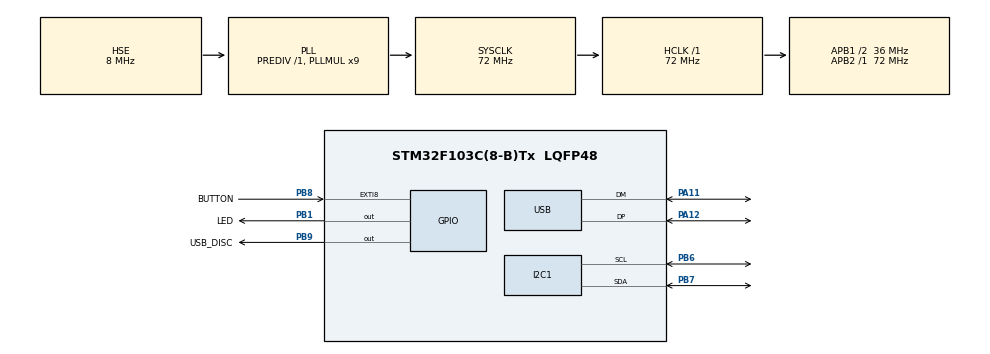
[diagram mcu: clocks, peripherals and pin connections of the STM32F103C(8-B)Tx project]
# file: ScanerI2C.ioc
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Mcu.Family=STM32F1
Mcu.Name=STM32F103C(8-B)Tx
Mcu.Package=LQFP48
NVIC.PriorityGroup=NVIC_PRIORITYGROUP_4
NVIC.USB_LP_CAN1_RX0_IRQn=true\:0\:0\:false
PA11.Mode=Device
PA11.Signal=USB_DM
PA12.Mode=Device
PA12.Signal=USB_DP
PA13.Mode=Serial_Wire
PA13.Signal=SYS_JTMS-SWDIO
PA14.Mode=Serial_Wire
PA14.Signal=SYS_JTCK-SWCLK
PB1.GPIO_Label=LED
PB1.GPIO_ModeDefaultOutputPP=GPIO_MODE_OUTPUT_PP
PB1.GPIO_Speed=GPIO_SPEED_LOW
PB1.Signal=GPIO_Output
PB6.Mode=I2C
PB6.Signal=I2C1_SCL
PB7.Mode=I2C
PB7.Signal=I2C1_SDA
PB8.GPIO_Label=BUTTON
PB8.GPIO_ModeDefaultEXTI=GPIO_MODE_IT_RISING_FALLING
PB8.GPIO_PuPd=GPIO_NOPULL
PB8.Signal=GPXTI8
PB9.GPIO_Label=USB_DISC
PB9.GPIO_ModeDefaultOutputPP=GPIO_MODE_OUTPUT_PP
PB9.GPIO_Speed=GPIO_SPEED_LOW
PB9.Signal=GPIO_Output
PD0-OSC_IN.Mode=HSE-External-Oscillator
PD0-OSC_IN.Signal=RCC_OSC_IN
PD1-OSC_OUT.Mode=HSE-External-Oscillator
PD1-OSC_OUT.Signal=RCC_OSC_OUT
ProjectManager.TargetToolchain=EWARM
RCC.ADCPresc=RCC_ADCPCLK2_DIV6
RCC.AHBFreq_Value=72000000
RCC.APB1CLKDivider=RCC_HCLK_DIV2
RCC.APB1Freq_Value=36000000
RCC.APB1TimFreq_Value=72000000
RCC.APB2Freq_Value=72000000
RCC.APB2TimFreq_Value=72000000
RCC.HCLKFreq_Value=72000000
RCC.HSIState=RCC_HSI_ON
RCC.PLLMUL=RCC_PLL_MUL9
RCC.SYSCLKFreq_VALUE=72000000
RCC.SYSCLKSource=RCC_SYSCLKSOURCE_PLLCLK
RCC.USBFreq_Value=48000000
RCC.USBPrescaler=RCC_USBPLLCLK_DIV1_5
USB_DEVICE.CLASS_NAME-CDC_FS=CDC
USB_DEVICE.USBD_HandleTypeDef=hUsbDeviceFS
USB_DEVICE.USBD_HandleTypeDef-CDC_FS=hUsbDeviceFS
USB_DEVICE.VirtualMode=Cdc
USB_DEVICE.VirtualMode-CDC_FS=Cdc
USB_DEVICE.VirtualModeFS=Cdc_FS
USB_DEVICE.VirtualModeFS-CDC_FS=Cdc_FS
VP_USB_DEVICE_VS_USB_DEVICE_CDC_FS.Mode=CDC_FS

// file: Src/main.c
/**
  ******************************************************************************
  * File Name          : main.c
  * Description        : Main program body
  ******************************************************************************
  *
  * COPYRIGHT(c) 2015 STMicroelectronics
  *
  * Redistribution and use in source and binary forms, with or without modification,
  * are permitted provided that the following conditions are met:
  *   1. Redistributions of source code must retain the above copyright notice,
  *      this list of conditions and the following disclaimer.
  *   2. Redistributions in binary form must reproduce the above copyright notice,
  *      this list of conditions and the following disclaimer in the documentation
  *      and/or other materials provided with the distribution.
  *   3. Neither the name of STMicroelectronics nor the names of its contributors
  *      may be used to endorse or promote products derived from this software
  *      without specific prior written permission.
  *
  * THIS SOFTWARE IS PROVIDED BY THE COPYRIGHT HOLDERS AND CONTRIBUTORS "AS IS"
  * AND ANY EXPRESS OR IMPLIED WARRANTIES, INCLUDING, BUT NOT LIMITED TO, THE
  * IMPLIED WARRANTIES OF MERCHANTABILITY AND FITNESS FOR A PARTICULAR PURPOSE ARE
  * DISCLAIMED. IN NO EVENT SHALL THE COPYRIGHT HOLDER OR CONTRIBUTORS BE LIABLE
  * FOR ANY DIRECT, INDIRECT, INCIDENTAL, SPECIAL, EXEMPLARY, OR CONSEQUENTIAL
  * DAMAGES (INCLUDING, BUT NOT LIMITED TO, PROCUREMENT OF SUBSTITUTE GOODS OR
  * SERVICES; LOSS OF USE, DATA, OR PROFITS; OR BUSINESS INTERRUPTION) HOWEVER
  * CAUSED AND ON ANY THEORY OF LIABILITY, WHETHER IN CONTRACT, STRICT LIABILITY,
  * OR TORT (INCLUDING NEGLIGENCE OR OTHERWISE) ARISING IN ANY WAY OUT OF THE USE
  * OF THIS SOFTWARE, EVEN IF ADVISED OF THE POSSIBILITY OF SUCH DAMAGE.
  *
  ******************************************************************************
  */

#include "stm32f1xx_hal.h"
#include "usb_device.h"

/* USER CODE BEGIN Includes */

#include "usbd_cdc_if.h"
// TODO: To automatic generate gitinfo.inc put to project options (Alt+F7):
// 1. General options / Build Actions - Pre-build command line:
// $PROJ_DIR$\..\gitinfo\gitinfo.exe
// 2. General options / C/C++ Compiller - Proprocessor - Additional include directories:
// $PROJ_DIR$\..\gitinfo
#include "gitinfo.inc"

/* USER CODE END Includes */

I2C_HandleTypeDef hi2c1;

/* USER CODE BEGIN PV */

uint8_t PutCharBuff;
uint32_t scanTime;

/* USER CODE END PV */

void SystemClock_Config(void);
static void MX_GPIO_Init(void);
static void MX_I2C1_Init(void);

/* USER CODE BEGIN PFP */

void PrintVersion();

#ifdef __GNUC__
  /* With GCC/RAISONANCE, small printf (option LD Linker->Libraries->Small printf
     set to 'Yes') calls __io_putchar() */
  #define PUTCHAR_PROTOTYPE int __io_putchar(int ch)
#else
  #define PUTCHAR_PROTOTYPE int fputc(int ch, FILE *f)
#endif /* __GNUC__ */

/* USER CODE END PFP */

int main(void)
{

  /* MCU Configuration----------------------------------------------------------*/

  /* Reset of all peripherals, Initializes the Flash interface and the Systick. */
  HAL_Init();

  /* Configure the system clock */
  SystemClock_Config();

  /* Initialize all configured peripherals */
  MX_GPIO_Init();
  MX_I2C1_Init();
  MX_USB_DEVICE_Init();

  /* Infinite loop */
  while (1)
  {

    uint32_t time = HAL_GetTick();
    if (scanTime + 1000 <= time)
    {
      scanTime = time;
      PrintVersion();
      // Scan I2C devices
      printf("Find I2C devices...\r\n");
      uint8_t foundDevices = 0;
      for (uint8_t address = 15; address <= 127; address++)
      {
        HAL_StatusTypeDef status = HAL_I2C_IsDeviceReady(&hi2c1, address << 1, 10, 100);
        if (status == HAL_OK)
          printf("Found new device: 0x%02X\r\n", address);
      }
      printf("Found %d devices\r\n", foundDevices);
    }

  }

}

/** System Clock Configuration
*/
void SystemClock_Config(void)
{

  RCC_OscInitTypeDef RCC_OscInitStruct;
  RCC_ClkInitTypeDef RCC_ClkInitStruct;
  RCC_PeriphCLKInitTypeDef PeriphClkInit;

  RCC_OscInitStruct.OscillatorType = RCC_OSCILLATORTYPE_HSE;
  RCC_OscInitStruct.HSEState = RCC_HSE_ON;
  RCC_OscInitStruct.HSEPredivValue = RCC_HSE_PREDIV_DIV1;
  RCC_OscInitStruct.PLL.PLLState = RCC_PLL_ON;
  RCC_OscInitStruct.PLL.PLLSource = RCC_PLLSOURCE_HSE;
  RCC_OscInitStruct.PLL.PLLMUL = RCC_PLL_MUL9;
  HAL_RCC_OscConfig(&RCC_OscInitStruct);

  RCC_ClkInitStruct.ClockType = RCC_CLOCKTYPE_SYSCLK|RCC_CLOCKTYPE_PCLK1;
  RCC_ClkInitStruct.SYSCLKSource = RCC_SYSCLKSOURCE_PLLCLK;
  RCC_ClkInitStruct.AHBCLKDivider = RCC_SYSCLK_DIV1;
  RCC_ClkInitStruct.APB1CLKDivider = RCC_HCLK_DIV2;
  RCC_ClkInitStruct.APB2CLKDivider = RCC_HCLK_DIV1;
  HAL_RCC_ClockConfig(&RCC_ClkInitStruct, FLASH_LATENCY_2);

  PeriphClkInit.PeriphClockSelection = RCC_PERIPHCLK_USB;
  PeriphClkInit.UsbClockSelection = RCC_USBPLLCLK_DIV1_5;
  HAL_RCCEx_PeriphCLKConfig(&PeriphClkInit);

  HAL_SYSTICK_Config(HAL_RCC_GetHCLKFreq()/1000);

  HAL_SYSTICK_CLKSourceConfig(SYSTICK_CLKSOURCE_HCLK);

}

/* I2C1 init function */
void MX_I2C1_Init(void)
{

  hi2c1.Instance = I2C1;
  hi2c1.Init.ClockSpeed = 100000;
  hi2c1.Init.DutyCycle = I2C_DUTYCYCLE_2;
  hi2c1.Init.OwnAddress1 = 0;
  hi2c1.Init.AddressingMode = I2C_ADDRESSINGMODE_7BIT;
  hi2c1.Init.DualAddressMode = I2C_DUALADDRESS_DISABLED;
  hi2c1.Init.OwnAddress2 = 0;
  hi2c1.Init.GeneralCallMode = I2C_GENERALCALL_DISABLED;
  hi2c1.Init.NoStretchMode = I2C_NOSTRETCH_DISABLED;
  HAL_I2C_Init(&hi2c1);

}

/** Configure pins as
        * Analog
        * Input
        * Output
        * EVENT_OUT
        * EXTI
*/
void MX_GPIO_Init(void)
{

  GPIO_InitTypeDef GPIO_InitStruct;

  /* GPIO Ports Clock Enable */
  __GPIOD_CLK_ENABLE();
  __GPIOB_CLK_ENABLE();
  __GPIOA_CLK_ENABLE();

  /*Configure GPIO pins : PB1 PB9 */
  GPIO_InitStruct.Pin = GPIO_PIN_1|GPIO_PIN_9;
  GPIO_InitStruct.Mode = GPIO_MODE_OUTPUT_PP;
  GPIO_InitStruct.Speed = GPIO_SPEED_LOW;
  HAL_GPIO_Init(GPIOB, &GPIO_InitStruct);

  /*Configure GPIO pin : PB8 */
  GPIO_InitStruct.Pin = GPIO_PIN_8;
  GPIO_InitStruct.Mode = GPIO_MODE_IT_RISING_FALLING;
  GPIO_InitStruct.Pull = GPIO_NOPULL;
  HAL_GPIO_Init(GPIOB, &GPIO_InitStruct);

}

/* USER CODE BEGIN 4 */

void PrintVersion()
{
  printf("\r\n");
#if defined(__TIME__) & defined(__DATE__)
  printf("Build at %s %s\r\n", __DATE__, __TIME__);
#endif
#if defined(COMMIT_SHA_0)
  printf("Commit %08x%08x%08x%08x%08x", COMMIT_SHA_0, COMMIT_SHA_1, COMMIT_SHA_2, COMMIT_SHA_3, COMMIT_SHA_4);
  if (COMMIT_IS_CLEAN)
    printf("\r\n");
  else
    printf(" Not clean\r\n");
  printf("Commit at %d-%02d-%02d %02d:%02d:%02d\r\n", COMMIT_DATE_Y, COMMIT_DATE_M, COMMIT_DATE_D, COMMIT_TIME_H, COMMIT_TIME_M, COMMIT_TIME_S);
  printf("\r\n");
#endif
}

PUTCHAR_PROTOTYPE
{
  /* Place your implementation of fputc here */
  /* e.g. write a character to the USART */
  PutCharBuff = (char)ch;
  uint8_t status = CDC_Transmit_FS(&PutCharBuff, 1);
  while (status != USBD_OK)
  {
    status = CDC_Transmit_FS(&PutCharBuff, 1);
  }

  return ch;
}

/* USER CODE END 4 */

/************************ (C) COPYRIGHT STMicroelectronics *****END OF FILE****/
